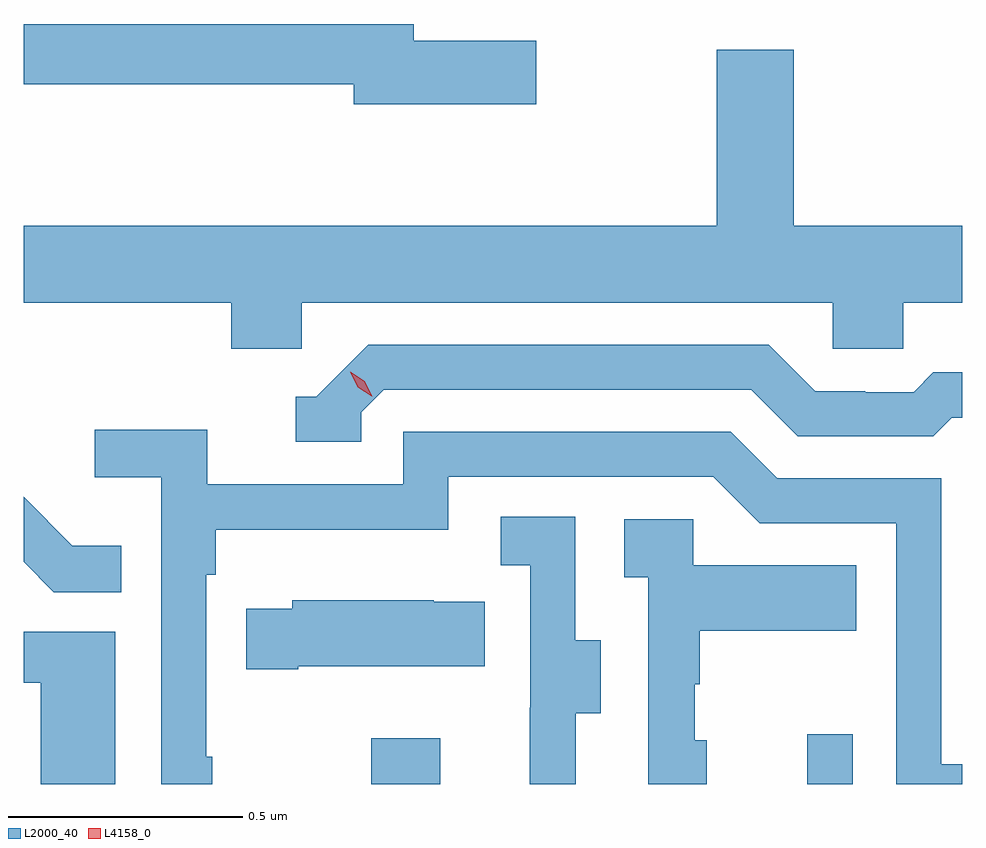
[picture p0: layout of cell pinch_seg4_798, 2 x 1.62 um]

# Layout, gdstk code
import gdstk
lib = gdstk.Library(unit=1e-6, precision=1e-09)
def R(c, l, rs):  # rectangles x0, y0, x1, y1
    for r in rs: c.add(gdstk.rectangle(r[:2], r[2:], *l))
def P(c, l, *ps):  # polygons
    for p in ps: c.add(gdstk.Polygon(p, *l))
L2000_40 = (2000, 40)
L4158_0 = (4158, 0)

pinch_seg4_798 = lib.new_cell('pinch_seg4_798')
R(pinch_seg4_798, L2000_40, [(811.624,819.771,811.771,819.868), (812.552,819.771,812.649,819.877)])
P(pinch_seg4_798, L2000_40, [(811.975,821.354),(811.714,821.354),(811.714,821.39),(810.883,821.39),(810.883,821.262),(811.586,821.262),(811.586,821.219),(811.975,821.219)],
  [(811.476,820.796),(812.607,820.796),(812.607,820.698),(812.757,820.698),(812.757,820.796),(812.883,820.796),(812.883,820.96),(812.524,820.96),(812.524,821.335),(812.36,821.335),(812.36,820.96),(810.883,820.96),(810.883,820.796),(811.325,820.796),(811.325,820.698),(811.476,820.698)],
  [(811.602,820.563),(811.65,820.611),(812.433,820.611),(812.532,820.512),(812.821,820.512),(812.86,820.551),(812.883,820.551),(812.883,820.648),(812.821,820.648),(812.779,820.605),(812.676,820.605),(812.676,820.608),(812.569,820.608),(812.47,820.707),(811.617,820.707),(811.506,820.596),(811.463,820.596),(811.463,820.5),(811.602,820.5)],
  [(811.285,819.829),(811.272,819.829),(811.272,820.217),(811.292,820.217),(811.292,820.313),(811.788,820.313),(811.788,820.425),(812.352,820.425),(812.451,820.326),(812.742,820.326),(812.742,819.771),(812.883,819.771),(812.883,819.813),(812.838,819.813),(812.838,820.422),(812.488,820.422),(812.389,820.521),(811.692,820.521),(811.692,820.41),(811.274,820.41),(811.274,820.526),(811.035,820.526),(811.035,820.424),(811.176,820.424),(811.176,819.771),(811.285,819.771)],
  [(811.091,820.279),(810.987,820.279),(810.883,820.383),(810.883,820.244),(810.947,820.18),(811.091,820.18)],
  [(812.059,819.922),(812.113,819.922),(812.113,820.077),(812.058,820.077),(812.058,820.34),(811.899,820.34),(811.899,820.237),(811.962,820.237),(811.962,819.933),(811.961,819.933),(811.961,819.771),(812.059,819.771)],
  [(812.338,819.864),(812.313,819.864),(812.313,819.983),(812.323,819.983),(812.323,820.097),(812.657,820.097),(812.657,820.237),(812.31,820.237),(812.31,820.335),(812.163,820.335),(812.163,820.211),(812.214,820.211),(812.214,819.771),(812.338,819.771)],
  [(811.468,820.022),(811.865,820.022),(811.865,820.159),(811.757,820.159),(811.757,820.162),(811.455,820.162),(811.455,820.144),(811.357,820.144),(811.357,820.015),(811.468,820.015)],
  [(811.078,820.095),(810.883,820.095),(810.883,819.987),(810.92,819.987),(810.92,819.771),(811.078,819.771)])
P(pinch_seg4_798, L4158_0, [(811.625,820.597),(811.595,820.616),(811.579,820.648),(811.579,820.649),(811.579,820.649),(811.61,820.629),(811.626,820.597),(811.626,820.597)])

lib.write_gds('pinch_seg4_798.gds')
